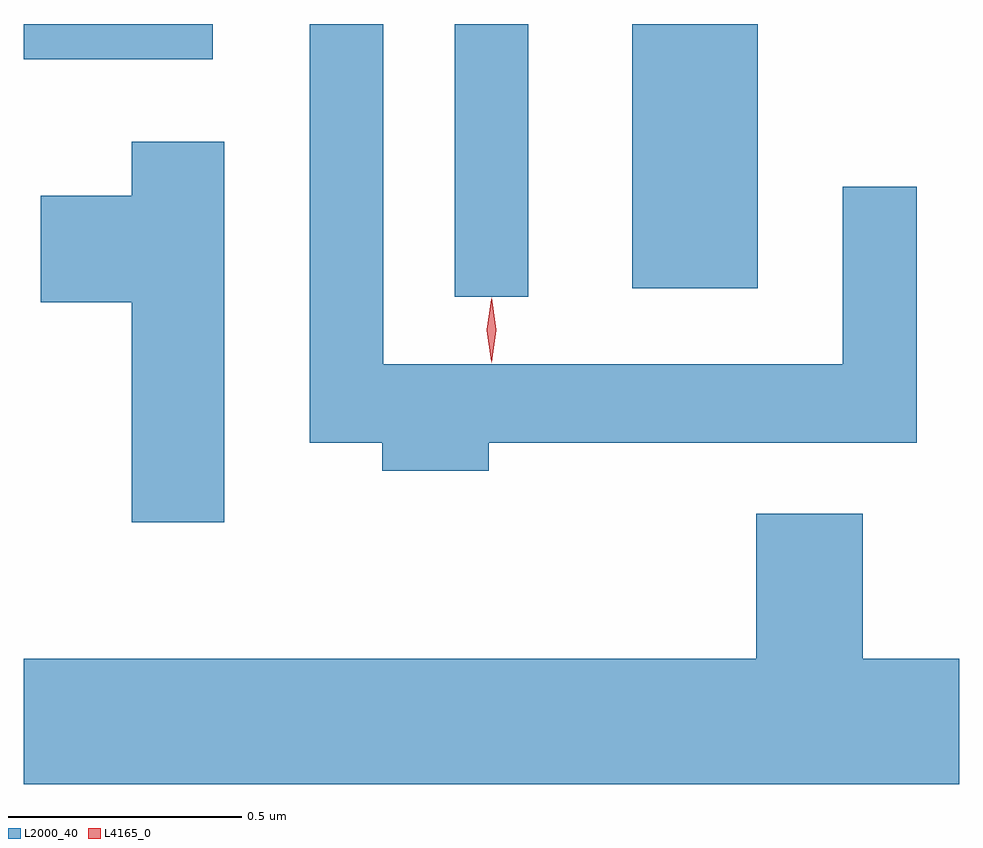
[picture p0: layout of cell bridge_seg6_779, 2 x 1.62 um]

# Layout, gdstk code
import gdstk
lib = gdstk.Library(unit=1e-6, precision=1e-09)
def R(c, l, rs):  # rectangles x0, y0, x1, y1
    for r in rs: c.add(gdstk.rectangle(r[:2], r[2:], *l))
def P(c, l, *ps):  # polygons
    for p in ps: c.add(gdstk.Polygon(p, *l))
L2000_40 = (2000, 40)
L4165_0 = (4165, 0)

bridge_seg6_779 = lib.new_cell('bridge_seg6_779')
R(bridge_seg6_779, L2000_40, [(526.046,1544.418,526.204,1545.001), (526.426,1544.436,526.694,1545.001), (525.125,1544.926,525.529,1545.001)])
P(bridge_seg6_779, L2000_40, [(526.119,1544.106),(527.034,1544.106),(527.034,1544.653),(526.876,1544.653),(526.876,1544.274),(525.894,1544.274),(525.894,1545.001),(525.736,1545.001),(525.736,1544.106),(525.891,1544.106),(525.891,1544.046),(526.119,1544.046)],
  [(525.554,1544.749),(525.356,1544.749),(525.356,1544.634),(525.161,1544.634),(525.161,1544.406),(525.356,1544.406),(525.356,1543.936),(525.554,1543.936)],
  [(527.125,1543.644),(526.919,1543.644),(526.919,1543.954),(526.691,1543.954),(526.691,1543.644),(525.125,1543.644),(525.125,1543.376),(527.125,1543.376)])
P(bridge_seg6_779, L4165_0, [(526.125,1544.279),(526.124,1544.28),(526.115,1544.346),(526.124,1544.412),(526.125,1544.413),(526.125,1544.412),(526.135,1544.346),(526.125,1544.28)],
  [(526.125,1544.277),(526.125,1544.278),(526.115,1544.347),(526.125,1544.416),(526.125,1544.416),(526.126,1544.416),(526.135,1544.347),(526.126,1544.278)])

lib.write_gds('bridge_seg6_779.gds')
